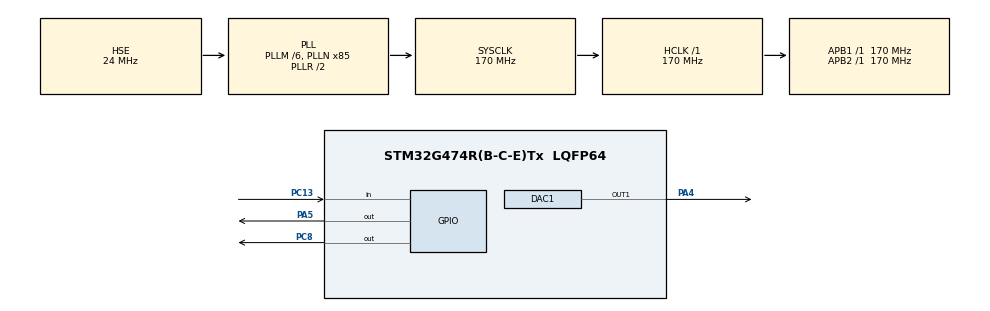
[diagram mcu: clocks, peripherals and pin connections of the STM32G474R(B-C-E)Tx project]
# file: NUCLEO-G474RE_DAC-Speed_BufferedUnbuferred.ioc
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DAC1.DAC_HighFrequency_OUT1-DAC_OUT1=DAC_HIGH_FREQUENCY_INTERFACE_MODE_ABOVE_160MHZ
DAC1.DAC_OutputBuffer-DAC_OUT1=DAC_OUTPUTBUFFER_ENABLE
DAC1.DAC_SampleAndHold-DAC_OUT1=DAC_SAMPLEANDHOLD_DISABLE
DAC1.DAC_Trigger_OUT1-DAC_OUT1=DAC_TRIGGER_SOFTWARE
Mcu.Family=STM32G4
Mcu.Name=STM32G474R(B-C-E)Tx
Mcu.Package=LQFP64
NVIC.PriorityGroup=NVIC_PRIORITYGROUP_4
PA4.Signal=COMP_DAC11_group
PA5.Signal=GPIO_Output
PC13.GPIO_PuPd=GPIO_PULLDOWN
PC13.Signal=GPIO_Input
PC14-OSC32_IN.Mode=LSE-External-Oscillator
PC14-OSC32_IN.Signal=RCC_OSC32_IN
PC15-OSC32_OUT.Mode=LSE-External-Oscillator
PC15-OSC32_OUT.Signal=RCC_OSC32_OUT
PC8.Signal=GPIO_Output
PF0-OSC_IN.Mode=HSE-External-Oscillator
PF0-OSC_IN.Signal=RCC_OSC_IN
PF1-OSC_OUT.Mode=HSE-External-Oscillator
PF1-OSC_OUT.Signal=RCC_OSC_OUT
ProjectManager.HeapSize=0x200
ProjectManager.StackSize=0x400
ProjectManager.TargetToolchain=STM32CubeIDE
RCC.ADC12Freq_Value=170000000
RCC.ADC345Freq_Value=170000000
RCC.AHBFreq_Value=170000000
RCC.APB1Freq_Value=170000000
RCC.APB1TimFreq_Value=170000000
RCC.APB2Freq_Value=170000000
RCC.APB2TimFreq_Value=170000000
RCC.CortexFreq_Value=170000000
RCC.EXTERNAL_CLOCK_VALUE=12288000
RCC.HCLKFreq_Value=170000000
RCC.HSE_VALUE=24000000
RCC.HSI48_VALUE=48000000
RCC.HSI_VALUE=16000000
RCC.PLLM=RCC_PLLM_DIV6
RCC.PLLN=85
RCC.PLLSourceVirtual=RCC_PLLSOURCE_HSE
RCC.RTCClockSelection=RCC_RTCCLKSOURCE_LSE
RCC.SYSCLKFreq_VALUE=170000000
RCC.SYSCLKSource=RCC_SYSCLKSOURCE_PLLCLK
RCC.USBFreq_Value=170000000
RCC.VCOOutputFreq_Value=340000000
SH.COMP_DAC11_group.0=DAC1_OUT1,DAC_OUT1
VP_SYS_VS_DBSignals.Mode=DisableDeadBatterySignals
board=NUCLEO-G474RE

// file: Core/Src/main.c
/* USER CODE BEGIN Header */
/**
  ******************************************************************************
  * @file           : main.c
  * @brief          : Main program body
  ******************************************************************************
  * @attention
  *
  * <h2><center>&copy; Copyright (c) 2020 STMicroelectronics.
  * All rights reserved.</center></h2>
  *
  * This software component is licensed by ST under BSD 3-Clause license,
  * the "License"; You may not use this file except in compliance with the
  * License. You may obtain a copy of the License at:
  *                        opensource.org/licenses/BSD-3-Clause
  *
  ******************************************************************************
  */
/* USER CODE END Header */
#include "main.h"

void SystemClock_Config(void);
static void MX_GPIO_Init(void);
static void MX_DAC1_Init(void);
/* USER CODE BEGIN PFP */

void LL_Activate_DAC1(void);
void LL_Activate_DAC2(void);

/* USER CODE END PFP */

int main(void)
{

  /* MCU Configuration--------------------------------------------------------*/

  /* Reset of all peripherals, Initializes the Flash interface and the Systick. */
  HAL_Init();

  /* Configure the system clock */
  SystemClock_Config();

  /* Initialize all configured peripherals */
  MX_GPIO_Init();
  MX_DAC1_Init();
  /* USER CODE BEGIN 2 */

  LL_Activate_DAC1(); //LL_Activate_DAC2();

  LL_DAC_ConvertData12RightAligned(DAC1, LL_DAC_CHANNEL_1, 0);
  LL_DAC_TrigSWConversion(DAC1, LL_DAC_CHANNEL_1);

  HAL_Delay(1);
//  LL_DAC_ConvertData12RightAligned(DAC2, LL_DAC_CHANNEL_1, 0);
//  LL_DAC_TrigSWConversion(DAC2, LL_DAC_CHANNEL_1);

//  while (HAL_GPIO_ReadPin(GPIOC, GPIO_PIN_13) == 0)
//  {
//    HAL_GPIO_TogglePin(GPIOA, GPIO_PIN_5);
//    HAL_Delay(200);
//  }

  HAL_GPIO_WritePin(GPIOC, GPIO_PIN_8, SET);

  LL_DAC_ConvertData12RightAligned(DAC1, LL_DAC_CHANNEL_1, 0xfff);
//  LL_DAC_ConvertData12RightAligned(DAC2, LL_DAC_CHANNEL_1, 0xfff);

  LL_DAC_TrigSWConversion(DAC1, LL_DAC_CHANNEL_1);
//  LL_DAC_TrigSWConversion(DAC2, LL_DAC_CHANNEL_1);

  /* USER CODE END 2 */

  /* Infinite loop */
  /* USER CODE BEGIN WHILE */
  while (1)
  {
	  HAL_GPIO_TogglePin(GPIOA, GPIO_PIN_5);
	  HAL_Delay(200);

    /* USER CODE END WHILE */

  }
}

void SystemClock_Config(void)
{
  RCC_OscInitTypeDef RCC_OscInitStruct = {0};
  RCC_ClkInitTypeDef RCC_ClkInitStruct = {0};

  /** Configure the main internal regulator output voltage
  */
  HAL_PWREx_ControlVoltageScaling(PWR_REGULATOR_VOLTAGE_SCALE1_BOOST);
  /** Initializes the RCC Oscillators according to the specified parameters
  * in the RCC_OscInitTypeDef structure.
  */
  RCC_OscInitStruct.OscillatorType = RCC_OSCILLATORTYPE_HSE;
  RCC_OscInitStruct.HSEState = RCC_HSE_ON;
  RCC_OscInitStruct.PLL.PLLState = RCC_PLL_ON;
  RCC_OscInitStruct.PLL.PLLSource = RCC_PLLSOURCE_HSE;
  RCC_OscInitStruct.PLL.PLLM = RCC_PLLM_DIV6;
  RCC_OscInitStruct.PLL.PLLN = 85;
  RCC_OscInitStruct.PLL.PLLP = RCC_PLLP_DIV2;
  RCC_OscInitStruct.PLL.PLLQ = RCC_PLLQ_DIV2;
  RCC_OscInitStruct.PLL.PLLR = RCC_PLLR_DIV2;
  if (HAL_RCC_OscConfig(&RCC_OscInitStruct) != HAL_OK)
  {
    Error_Handler();
  }
  /** Initializes the CPU, AHB and APB buses clocks
  */
  RCC_ClkInitStruct.ClockType = RCC_CLOCKTYPE_HCLK|RCC_CLOCKTYPE_SYSCLK
                              |RCC_CLOCKTYPE_PCLK1|RCC_CLOCKTYPE_PCLK2;
  RCC_ClkInitStruct.SYSCLKSource = RCC_SYSCLKSOURCE_PLLCLK;
  RCC_ClkInitStruct.AHBCLKDivider = RCC_SYSCLK_DIV1;
  RCC_ClkInitStruct.APB1CLKDivider = RCC_HCLK_DIV1;
  RCC_ClkInitStruct.APB2CLKDivider = RCC_HCLK_DIV1;

  if (HAL_RCC_ClockConfig(&RCC_ClkInitStruct, FLASH_LATENCY_4) != HAL_OK)
  {
    Error_Handler();
  }
}

static void MX_DAC1_Init(void)
{

  LL_DAC_InitTypeDef DAC_InitStruct = {0};

  LL_GPIO_InitTypeDef GPIO_InitStruct = {0};

  /* Peripheral clock enable */
  LL_AHB2_GRP1_EnableClock(LL_AHB2_GRP1_PERIPH_DAC1);

  LL_AHB2_GRP1_EnableClock(LL_AHB2_GRP1_PERIPH_GPIOA);
  /**DAC1 GPIO Configuration
  PA4   ------> DAC1_OUT1
  */
  GPIO_InitStruct.Pin = LL_GPIO_PIN_4;
  GPIO_InitStruct.Mode = LL_GPIO_MODE_ANALOG;
  GPIO_InitStruct.Pull = LL_GPIO_PULL_NO;
  LL_GPIO_Init(GPIOA, &GPIO_InitStruct);

  /** DAC channel OUT1 config
  */
  LL_DAC_SetHighFrequencyMode(DAC1, LL_DAC_HIGH_FREQ_MODE_ABOVE_160MHZ);
  LL_DAC_SetSignedFormat(DAC1, LL_DAC_CHANNEL_1, LL_DAC_SIGNED_FORMAT_DISABLE);
  DAC_InitStruct.TriggerSource = LL_DAC_TRIG_SOFTWARE;
  DAC_InitStruct.TriggerSource2 = LL_DAC_TRIG_SOFTWARE;
  DAC_InitStruct.WaveAutoGeneration = LL_DAC_WAVE_AUTO_GENERATION_NONE;
  DAC_InitStruct.OutputBuffer = LL_DAC_OUTPUT_BUFFER_ENABLE;
  DAC_InitStruct.OutputConnection = LL_DAC_OUTPUT_CONNECT_GPIO;
  DAC_InitStruct.OutputMode = LL_DAC_OUTPUT_MODE_NORMAL;
  LL_DAC_Init(DAC1, LL_DAC_CHANNEL_1, &DAC_InitStruct);
  LL_DAC_EnableTrigger(DAC1, LL_DAC_CHANNEL_1);
  LL_DAC_DisableDMADoubleDataMode(DAC1, LL_DAC_CHANNEL_1);

}

static void MX_GPIO_Init(void)
{
  GPIO_InitTypeDef GPIO_InitStruct = {0};

  /* GPIO Ports Clock Enable */
  __HAL_RCC_GPIOC_CLK_ENABLE();
  __HAL_RCC_GPIOF_CLK_ENABLE();
  __HAL_RCC_GPIOA_CLK_ENABLE();

  /*Configure GPIO pin Output Level */
  HAL_GPIO_WritePin(GPIOA, GPIO_PIN_5, GPIO_PIN_RESET);

  /*Configure GPIO pin Output Level */
  HAL_GPIO_WritePin(GPIOC, GPIO_PIN_8, GPIO_PIN_RESET);

  /*Configure GPIO pin : PC13 */
  GPIO_InitStruct.Pin = GPIO_PIN_13;
  GPIO_InitStruct.Mode = GPIO_MODE_INPUT;
  GPIO_InitStruct.Pull = GPIO_PULLDOWN;
  HAL_GPIO_Init(GPIOC, &GPIO_InitStruct);

  /*Configure GPIO pin : PA5 */
  GPIO_InitStruct.Pin = GPIO_PIN_5;
  GPIO_InitStruct.Mode = GPIO_MODE_OUTPUT_PP;
  GPIO_InitStruct.Pull = GPIO_NOPULL;
  GPIO_InitStruct.Speed = GPIO_SPEED_FREQ_LOW;
  HAL_GPIO_Init(GPIOA, &GPIO_InitStruct);

  /*Configure GPIO pin : PC8 */
  GPIO_InitStruct.Pin = GPIO_PIN_8;
  GPIO_InitStruct.Mode = GPIO_MODE_OUTPUT_PP;
  GPIO_InitStruct.Pull = GPIO_NOPULL;
  GPIO_InitStruct.Speed = GPIO_SPEED_FREQ_LOW;
  HAL_GPIO_Init(GPIOC, &GPIO_InitStruct);

}

/* USER CODE BEGIN 4 */

void LL_Activate_DAC1(void)
{
  __IO uint32_t wait_loop_index = 0;

  /* Enable DAC channel */
  LL_DAC_Enable(DAC1, LL_DAC_CHANNEL_1);

  /* Delay for DAC channel voltage settling time from DAC channel startup.    */
  /* Compute number of CPU cycles to wait for, from delay in us.              */
  /* Note: Variable divided by 2 to compensate partially                      */
  /*       CPU processing cycles (depends on compilation optimization).       */
  /* Note: If system core clock frequency is below 200kHz, wait time          */
  /*       is only a few CPU processing cycles.                               */
  wait_loop_index = ((LL_DAC_DELAY_STARTUP_VOLTAGE_SETTLING_US * (SystemCoreClock / (100000 * 2))) / 10);
  while(wait_loop_index != 0)
  {
    wait_loop_index--;
  }

  /* Enable DAC channel trigger */
  /* Note: DAC channel conversion can start from trigger enable:              */
  /*       - if DAC channel trigger source is set to SW:                      */
  /*         DAC channel conversion will start after trig order               */
  /*         using function "LL_DAC_TrigSWConversion()".                      */
  /*       - if DAC channel trigger source is set to external trigger         */
  /*         (timer, ...):                                                    */
  /*         DAC channel conversion can start immediately                     */
  /*         (after next trig order from external trigger)                    */
  LL_DAC_EnableTrigger(DAC1, LL_DAC_CHANNEL_1);
}

void LL_Activate_DAC2(void)
{
  __IO uint32_t wait_loop_index = 0;

  /* Enable DAC channel */
  LL_DAC_Enable(DAC2, LL_DAC_CHANNEL_1);

  /* Delay for DAC channel voltage settling time from DAC channel startup.    */
  /* Compute number of CPU cycles to wait for, from delay in us.              */
  /* Note: Variable divided by 2 to compensate partially                      */
  /*       CPU processing cycles (depends on compilation optimization).       */
  /* Note: If system core clock frequency is below 200kHz, wait time          */
  /*       is only a few CPU processing cycles.                               */
  wait_loop_index = ((LL_DAC_DELAY_STARTUP_VOLTAGE_SETTLING_US * (SystemCoreClock / (100000 * 2))) / 10);
  while(wait_loop_index != 0)
  {
    wait_loop_index--;
  }

  /* Enable DAC channel trigger */
  /* Note: DAC channel conversion can start from trigger enable:              */
  /*       - if DAC channel trigger source is set to SW:                      */
  /*         DAC channel conversion will start after trig order               */
  /*         using function "LL_DAC_TrigSWConversion()".                      */
  /*       - if DAC channel trigger source is set to external trigger         */
  /*         (timer, ...):                                                    */
  /*         DAC channel conversion can start immediately                     */
  /*         (after next trig order from external trigger)                    */
  LL_DAC_EnableTrigger(DAC2, LL_DAC_CHANNEL_1);
}
/* USER CODE END 4 */

void Error_Handler(void)
{
}

/************************ (C) COPYRIGHT STMicroelectronics *****END OF FILE****/
